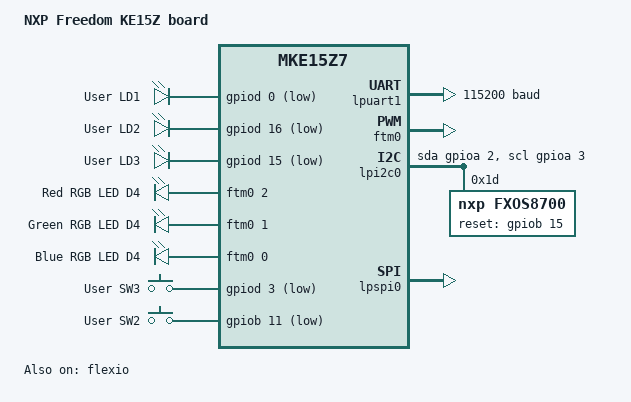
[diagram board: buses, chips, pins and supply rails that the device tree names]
/* SPDX-License-Identifier: Apache-2.0 */

/dts-v1/;

#include <nxp/nxp_ke15z256vlx7.dtsi>
#include <zephyr/dt-bindings/clock/kinetis_scg.h>
#include <zephyr/dt-bindings/pwm/pwm.h>
#include "frdm_ke15z-pinctrl.dtsi"
#include <zephyr/dt-bindings/input/input-event-codes.h>

/ {
	model = "NXP Freedom KE15Z board";
	compatible = "nxp,frdm-ke15z", "nxp,ke15z", "nxp,mke15z7";

	aliases {
		led0 = &green_led;
		led1 = &blue_led;
		led2 = &red_led;
		sw0 = &user_button_0;
		sw1 = &user_button_1;
		magn0 = &fxos8700;
		accel0 = &fxos8700;
	};

	chosen {
		zephyr,sram = &sram0;
		zephyr,flash = &flash0;
		zephyr,console = &lpuart1;
		zephyr,shell-uart = &lpuart1;
		zephyr,uart-pipe = &lpuart1;
	};

	leds {
		compatible = "gpio-leds";
		red_led: led_0 {
			gpios = <&gpiod 0 GPIO_ACTIVE_LOW>;
			label = "User LD1";
		};
		green_led: led_1 {
			gpios = <&gpiod 16 GPIO_ACTIVE_LOW>;
			label = "User LD2";
		};
		blue_led: led_2 {
			gpios = <&gpiod 15 GPIO_ACTIVE_LOW>;
			label = "User LD3";
		};
	};

	pwmleds {
		compatible = "pwm-leds";
		red_pwm_led: led_pwm_0 {
			pwms = <&ftm0 2 PWM_MSEC(20) PWM_POLARITY_INVERTED>;
			label = "Red RGB LED D4";
		};
		yellow_pwm_led: led_pwm_1 {
			pwms = <&ftm0 1 PWM_MSEC(20) PWM_POLARITY_INVERTED>;
			label = "Green RGB LED D4";
		};
		green_pwm_led: led_pwm_2 {
			pwms = <&ftm0 0 PWM_MSEC(20) PWM_POLARITY_INVERTED>;
			label = "Blue RGB LED D4";
		};

	};




	gpio_keys {
		compatible = "gpio-keys";
		user_button_0: button_0 {
			label = "User SW3";
			gpios = <&gpiod 3 GPIO_ACTIVE_LOW>;
			zephyr,code = <INPUT_KEY_0>;
		};
		user_button_1: button_1 {
			label = "User SW2";
			gpios = <&gpiob 11 GPIO_ACTIVE_LOW>;
			zephyr,code = <INPUT_KEY_1>;
		};
	};
};

&cpu0 {
	clock-frequency = <120000000>;
};

/*  b01800 Check Low power mode */
&idle {
	min-residency-us = <1>;
};


&stop {
	min-residency-us = <20000>;
	exit-latency-us = <13>;
};


&sim {
	clkout-source = <1>;
	clkout-divider = <0>;
};

&scg {
	sosc-mode = <KINETIS_SCG_SOSC_MODE_LOW_POWER>;

	sosc_clk {
		status = "okay";
		clock-frequency = <8000000>;
	};

	core_clk {
		clocks = <&lpfll_clk>;
	};

	core_clk {
		clocks = <&firc_clk>;
	};

	bus_clk {
		clock-div = <2>;
	};

	slow_clk {
		clock-div = <5>;
	};

	clkout_clk {
		status = "okay";
	};

	flldiv2_clk {
		clock-div = <2>;
	};

	sircdiv1_clk {
		clock-div = <1>;
	};

	sircdiv2_clk {
		clock-div = <2>;
	};

	fircdiv1_clk {
		clock-div = <1>;
	};

	fircdiv2_clk {
		clock-div = <1>;
	};

	soscdiv1_clk {
		clock-div = <1>;
	};

	soscdiv2_clk {
		clock-div = <1>;
	};
};

&lpuart1 {
	status = "okay";
	current-speed = <115200>;
	pinctrl-0 = <&lpuart1_default>;
	pinctrl-names = "default";
};

&ftm0 {
	status = "okay";
	compatible = "nxp,kinetis-ftm-pwm";
	#pwm-cells = <3>;
	pinctrl-0 = <&ftm0_default>;
	pinctrl-names = "default";
};
&lpi2c0 {
	status = "okay";
	pinctrl-0 = <&lpi2c0_default>;
	pinctrl-names = "default";
	scl-gpios = <&gpioa 3 GPIO_ACTIVE_HIGH>;
	sda-gpios = <&gpioa 2 GPIO_ACTIVE_HIGH>;

	fxos8700: fxos8700@1d {
		compatible = "nxp,fxos8700";
		reg = <0x1d>;
		reset-gpios = <&gpiob 15 GPIO_ACTIVE_HIGH>;
	};
};

&lpspi0 {
	dmas = <&edma 0 14>, <&edma 1 15>;
	dma-names = "rx", "tx";
	status = "okay";
	pinctrl-0 = <&lpspi0_default>;
	pinctrl-names = "default";
};

/*
 * &lpspi1 {
 *	status = "okay";
 *	pinctrl-0 = <&lpspi1_default>;
 *	pinctrl-names = "default";
 *};
 */

&gpiob {
	status = "okay";
};

&gpiod {
	status = "okay";
};

&flexio {
	status = "okay";
};
